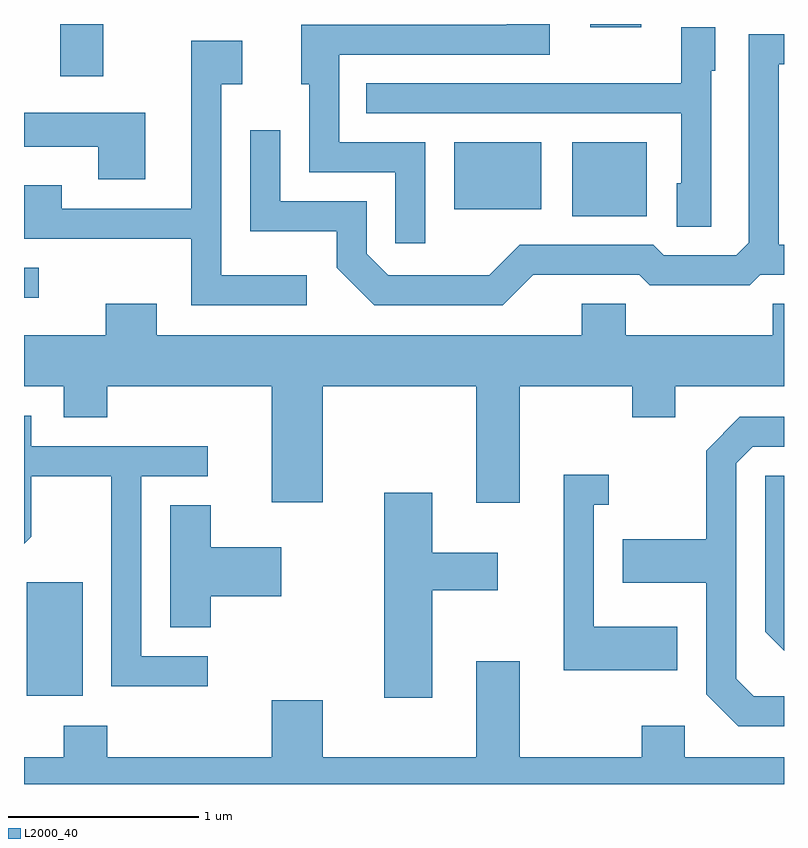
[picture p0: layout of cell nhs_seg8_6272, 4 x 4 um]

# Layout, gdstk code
import gdstk
lib = gdstk.Library(unit=1e-6, precision=1e-09)
def R(c, l, rs):  # rectangles x0, y0, x1, y1
    for r in rs: c.add(gdstk.rectangle(r[:2], r[2:], *l))
def P(c, l, *ps):  # polygons
    for p in ps: c.add(gdstk.Polygon(p, *l))
L2000_40 = (2000, 40)

nhs_seg8_6272 = lib.new_cell('nhs_seg8_6272')
R(nhs_seg8_6272, L2000_40, [(373.626,1814.806,373.919,1815.404), (373.611,1816.901,373.688,1817.059), (376.496,1817.331,376.889,1817.719), (375.876,1817.366,376.334,1817.719), (373.801,1818.066,374.029,1818.342), (376.591,1818.326,376.859,1818.342)])
P(nhs_seg8_6272, L2000_40, [(375.724,1817.719),(375.269,1817.719),(375.269,1818.181),(376.379,1818.181),(376.379,1818.342),(376.151,1818.342),(376.151,1818.339),(375.071,1818.339),(375.071,1818.026),(375.111,1818.026),(375.111,1817.561),(375.566,1817.561),(375.566,1817.188),(375.724,1817.188)],
  [(377.229,1818.096),(377.249,1818.096),(377.249,1818.324),(377.071,1818.324),(377.071,1818.029),(375.413,1818.029),(375.413,1817.871),(377.071,1817.871),(377.071,1817.504),(377.046,1817.504),(377.046,1817.276),(377.229,1817.276)],
  [(376.292,1817.021),(376.849,1817.021),(376.904,1816.966),(377.432,1816.966),(377.487,1817.021),(377.611,1817.021),(377.611,1817.179),(377.584,1817.179),(377.584,1818.131),(377.611,1818.131),(377.611,1818.289),(377.426,1818.289),(377.426,1817.192),(377.359,1817.124),(376.977,1817.124),(376.922,1817.179),(376.219,1817.179),(376.059,1817.019),(375.527,1817.019),(375.414,1817.132),(375.414,1817.409),(374.959,1817.409),(374.959,1817.783),(374.801,1817.783),(374.801,1817.251),(375.256,1817.251),(375.256,1817.059),(375.454,1816.861),(376.132,1816.861)],
  [(375.098,1817.019),(374.649,1817.019),(374.649,1818.026),(374.759,1818.026),(374.759,1818.254),(374.491,1818.254),(374.491,1817.369),(373.809,1817.369),(373.809,1817.494),(373.611,1817.494),(373.611,1817.211),(374.491,1817.211),(374.491,1816.861),(375.098,1816.861)],
  [(374.249,1817.874),(373.611,1817.874),(373.611,1817.696),(374.001,1817.696),(374.001,1817.526),(374.249,1817.526)],
  [(376.811,1816.271),(377.039,1816.271),(377.039,1816.436),(377.611,1816.436),(377.611,1816.869),(377.551,1816.869),(377.551,1816.704),(376.779,1816.704),(376.779,1816.869),(376.546,1816.869),(376.546,1816.704),(374.309,1816.704),(374.309,1816.869),(374.041,1816.869),(374.041,1816.704),(373.611,1816.704),(373.611,1816.436),(373.821,1816.436),(373.821,1816.271),(374.049,1816.271),(374.049,1816.436),(374.916,1816.436),(374.916,1815.826),(375.184,1815.826),(375.184,1816.436),(375.991,1816.436),(375.991,1815.821),(376.219,1815.821),(376.219,1816.436),(376.811,1816.436)],
  [(374.578,1815.014),(374.229,1815.014),(374.229,1815.961),(374.578,1815.961),(374.578,1816.119),(373.649,1816.119),(373.649,1816.279),(373.611,1816.279),(373.611,1815.606),(373.649,1815.644),(373.649,1815.961),(374.071,1815.961),(374.071,1814.856),(374.578,1814.856)],
  [(377.611,1814.804),(377.452,1814.804),(377.359,1814.897),(377.359,1816.029),(377.447,1816.116),(377.611,1816.116),(377.611,1816.274),(377.379,1816.274),(377.201,1816.097),(377.201,1815.629),(376.761,1815.629),(376.761,1815.401),(377.201,1815.401),(377.201,1814.814),(377.369,1814.646),(377.611,1814.646)],
  [(377.049,1815.169),(376.609,1815.169),(376.609,1815.811),(376.688,1815.811),(376.688,1815.969),(376.451,1815.969),(376.451,1814.941),(377.049,1814.941)],
  [(377.611,1815.964),(377.511,1815.964),(377.511,1815.144),(377.611,1815.044)],
  [(375.759,1815.361),(376.104,1815.361),(376.104,1815.559),(375.759,1815.559),(375.759,1815.874),(375.506,1815.874),(375.506,1814.796),(375.759,1814.796)],
  [(374.594,1815.331),(374.964,1815.331),(374.964,1815.589),(374.594,1815.589),(374.594,1815.809),(374.381,1815.809),(374.381,1815.166),(374.594,1815.166)],
  [(377.611,1814.484),(377.089,1814.484),(377.089,1814.649),(376.861,1814.649),(376.861,1814.484),(376.219,1814.484),(376.219,1814.989),(375.991,1814.989),(375.991,1814.484),(375.184,1814.484),(375.184,1814.784),(374.916,1814.784),(374.916,1814.484),(374.049,1814.484),(374.049,1814.649),(373.821,1814.649),(373.821,1814.484),(373.611,1814.484),(373.611,1814.342),(377.611,1814.342)])

lib.write_gds('nhs_seg8_6272.gds')
